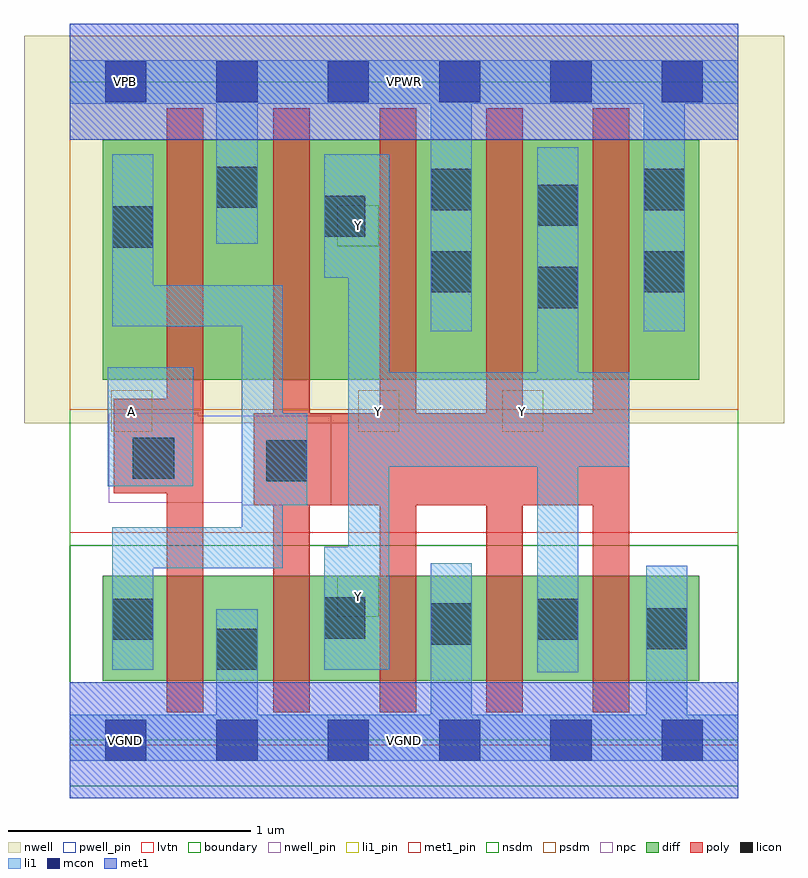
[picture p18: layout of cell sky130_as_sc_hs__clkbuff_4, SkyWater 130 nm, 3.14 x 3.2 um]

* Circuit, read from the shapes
.subckt sky130_as_sc_hs__clkbuff_4 A VGND VNB VPB VPWR Y
XM1 VGND A n1 VNB sky130_fd_pr__nfet_01v8_lvt w=0.435 l=0.15
XM2 Y n1 VGND VNB sky130_fd_pr__nfet_01v8_lvt w=0.435 l=0.15 m=4
XM3 VPWR A n1 VPB sky130_fd_pr__pfet_01v8 w=0.99 l=0.15
XM4 Y n1 VPWR VPB sky130_fd_pr__pfet_01v8 w=0.99 l=0.15 m=4
.ends

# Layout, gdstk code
import gdstk
lib = gdstk.Library(unit=1e-6, precision=1e-09)
def R(c, l, rs):  # rectangles x0, y0, x1, y1
    for r in rs: c.add(gdstk.rectangle(r[:2], r[2:], *l))
def A(c, l, x, y, w, h, nx, ny, dx, dy):  # array of equal rectangles
    R(c, l, [(x+i*dx, y+j*dy, x+i*dx+w, y+j*dy+h) for i in range(nx) for j in range(ny)])
nwell_pin = (64, 16)
nwell = (64, 20)
diff = (65, 20)
poly = (66, 20)
licon = (66, 44)
li1_pin = (67, 16)
li1 = (67, 20)
mcon = (67, 44)
met1_pin = (68, 16)
met1 = (68, 20)
nsdm = (93, 44)
psdm = (94, 20)
npc = (95, 20)
pwell_pin = (122, 16)
lvtn = (125, 44)
boundary = (235, 4)

sky130_as_sc_hs__clkbuff = lib.new_cell('sky130_as_sc_hs__clkbuff_4')
R(sky130_as_sc_hs__clkbuff, nwell_pin, [(0.145,2.635,0.315,2.805)])
R(sky130_as_sc_hs__clkbuff, nwell, [(-0.19,1.31,2.95,2.91)])
R(sky130_as_sc_hs__clkbuff, diff, [(0.135,0.245,2.6,0.68), (0.135,1.49,2.6,2.48)])
A(sky130_as_sc_hs__clkbuff, poly, 0.84, 0.115, 0.15, 0.855, 4, 1, 0.44, 0)
A(sky130_as_sc_hs__clkbuff, poly, 0.84, 1.35, 0.15, 1.26, 4, 1, 0.44, 0)
R(sky130_as_sc_hs__clkbuff, poly, [(0.4,0.115,0.55,1.02), (0.76,0.97,2.31,1.35), (0.18,1.02,0.55,1.41), (0.4,1.41,0.55,2.61)])
R(sky130_as_sc_hs__clkbuff, licon, [(0.605,0.29,0.775,0.46), (2.38,0.375,2.55,0.545), (1.49,0.395,1.66,0.565), (0.175,0.415,0.345,0.585), (1.93,0.415,2.1,0.585), (1.05,0.42,1.22,0.59), (0.81,1.07,0.98,1.24), (0.26,1.08,0.43,1.25), (1.93,1.785,2.1,1.955), (1.49,1.85,1.66,2.02), (2.37,1.85,2.54,2.02), (0.175,2.035,0.345,2.205), (1.05,2.08,1.22,2.25), (1.93,2.125,2.1,2.295), (1.49,2.19,1.66,2.36), (2.37,2.19,2.54,2.36), (0.605,2.2,0.775,2.37)])
R(sky130_as_sc_hs__clkbuff, li1_pin, [(1.105,0.51,1.275,0.68), (0.17,1.275,0.34,1.445), (1.19,1.275,1.36,1.445), (1.785,1.275,1.955,1.445), (1.105,2.04,1.275,2.21)])
R(sky130_as_sc_hs__clkbuff, li1, [(0,-0.085,2.76,0.105), (0.605,0.105,0.775,0.54), (1.49,0.105,1.66,0.73), (2.38,0.105,2.55,0.72), (1.93,0.28,2.1,1.13), (0.175,0.29,0.345,0.71), (1.05,0.29,1.32,0.8), (0.175,0.71,0.88,0.88), (1.15,0.8,1.32,1.13), (0.71,0.88,0.88,0.97), (0.71,0.97,0.98,1.35), (0.155,1.05,0.51,1.54), (1.15,1.13,2.31,1.52), (0.71,1.35,0.88,1.71), (1.15,1.52,1.32,1.91), (1.93,1.52,2.1,2.45), (1.49,1.69,1.66,2.63), (2.37,1.69,2.54,2.63), (0.175,1.71,0.88,1.88), (0.175,1.88,0.345,2.42), (1.05,1.91,1.32,2.42), (0.605,2.05,0.775,2.63), (0,2.63,2.76,2.81)])
A(sky130_as_sc_hs__clkbuff, mcon, 0.145, -0.085, 0.17, 0.17, 6, 2, 0.46, 2.72)
R(sky130_as_sc_hs__clkbuff, met1_pin, [(0,-0.24,2.76,0.24), (0.145,-0.085,0.315,0.085), (0,2.48,2.76,2.96), (0.145,2.635,0.315,2.805)])
R(sky130_as_sc_hs__clkbuff, met1, [(0,-0.24,2.76,0.24), (0,2.48,2.76,2.96)])
R(sky130_as_sc_hs__clkbuff, nsdm, [(0,-0.19,2.76,0.805)])
R(sky130_as_sc_hs__clkbuff, psdm, [(0,1.365,2.76,2.91)])
R(sky130_as_sc_hs__clkbuff, npc, [(0.71,0.97,1.08,0.98), (0.16,0.98,1.08,1.34), (0.16,1.34,0.53,1.35)])
R(sky130_as_sc_hs__clkbuff, pwell_pin, [(0.145,-0.085,0.315,0.085)])
R(sky130_as_sc_hs__clkbuff, lvtn, [(0,-0.02,2.76,0.86)])
R(sky130_as_sc_hs__clkbuff, boundary, [(0,0,2.76,2.72)])
sky130_as_sc_hs__clkbuff.add(gdstk.Label('VPB', (0.23,2.72), layer=64, texttype=5))
sky130_as_sc_hs__clkbuff.add(gdstk.Label('VPB', (0.23,2.72), layer=64, texttype=5))
sky130_as_sc_hs__clkbuff.add(gdstk.Label('VGND', (0.23,0), layer=68, texttype=5))
sky130_as_sc_hs__clkbuff.add(gdstk.Label('VGND', (1.38,0), layer=68, texttype=5))
sky130_as_sc_hs__clkbuff.add(gdstk.Label('VPWR', (0.23,2.72), layer=68, texttype=5))
sky130_as_sc_hs__clkbuff.add(gdstk.Label('VPWR', (1.38,2.72), layer=68, texttype=5))
sky130_as_sc_hs__clkbuff.add(gdstk.Label('VNB', (0.23,0), layer=64, texttype=59))
sky130_as_sc_hs__clkbuff.add(gdstk.Label('VNB', (0.23,0), layer=64, texttype=59))
sky130_as_sc_hs__clkbuff.add(gdstk.Label('Y', (1.19,0.595), layer=67, texttype=5))
sky130_as_sc_hs__clkbuff.add(gdstk.Label('Y', (1.19,0.595), layer=67, texttype=5))
sky130_as_sc_hs__clkbuff.add(gdstk.Label('Y', (1.275,1.36), layer=67, texttype=5))
sky130_as_sc_hs__clkbuff.add(gdstk.Label('Y', (1.275,1.36), layer=67, texttype=5))
sky130_as_sc_hs__clkbuff.add(gdstk.Label('Y', (1.87,1.36), layer=67, texttype=5))
sky130_as_sc_hs__clkbuff.add(gdstk.Label('Y', (1.87,1.36), layer=67, texttype=5))
sky130_as_sc_hs__clkbuff.add(gdstk.Label('Y', (1.19,2.125), layer=67, texttype=5))
sky130_as_sc_hs__clkbuff.add(gdstk.Label('Y', (1.19,2.125), layer=67, texttype=5))
sky130_as_sc_hs__clkbuff.add(gdstk.Label('A', (0.255,1.36), layer=67, texttype=5))
sky130_as_sc_hs__clkbuff.add(gdstk.Label('A', (0.255,1.36), layer=67, texttype=5))

lib.write_gds('sky130_as_sc_hs__clkbuff_4.gds')
